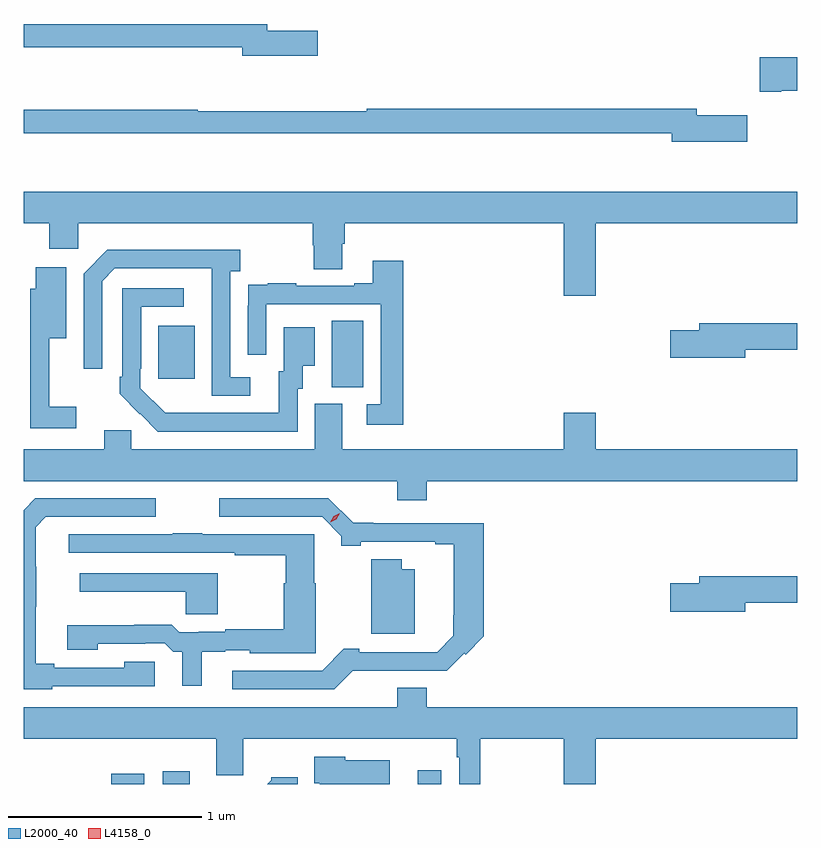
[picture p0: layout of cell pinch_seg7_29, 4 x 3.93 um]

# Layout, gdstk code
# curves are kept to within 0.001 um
import gdstk
lib = gdstk.Library(unit=1e-6, precision=1e-09)
def R(c, l, rs):  # rectangles x0, y0, x1, y1
    for r in rs: c.add(gdstk.rectangle(r[:2], r[2:], *l))
def P(c, l, *ps):  # polygons
    for p in ps: c.add(gdstk.Polygon(p, *l))
L2000_40 = (2000, 40)
L4158_0 = (4158, 0)

pinch_seg7_29 = lib.new_cell('pinch_seg7_29')
R(pinch_seg7_29, L2000_40, [(1061.768,1057.658,1061.938,1057.711), (1062.035,1057.658,1062.175,1057.723), (1063.352,1057.658,1063.474,1057.729), (1062.908,1059.709,1063.072,1060.052), (1062.011,1059.753,1062.199,1060.027)])
P(pinch_seg7_29, L2000_40, [(1062.835,1061.553),(1062.574,1061.553),(1062.574,1061.587),(1061.315,1061.587),(1061.315,1061.466),(1062.446,1061.466),(1062.446,1061.423),(1062.835,1061.423)],
  [(1065.232,1061.242),(1065.315,1061.242),(1065.315,1061.415),(1065.12,1061.415),(1065.12,1061.237),(1065.232,1061.237)],
  [(1065.055,1061.114),(1064.794,1061.114),(1064.794,1061.15),(1063.09,1061.15),(1063.09,1061.135),(1062.215,1061.135),(1062.215,1061.143),(1061.315,1061.143),(1061.315,1061.022),(1064.666,1061.022),(1064.666,1060.979),(1065.055,1060.979)],
  [(1064.272,1060.556),(1065.315,1060.556),(1065.315,1060.72),(1061.315,1060.72),(1061.315,1060.556),(1061.447,1060.556),(1061.447,1060.425),(1061.598,1060.425),(1061.598,1060.556),(1062.809,1060.556),(1062.809,1060.443),(1062.814,1060.443),(1062.814,1060.318),(1062.961,1060.318),(1062.961,1060.45),(1062.974,1060.45),(1062.974,1060.556),(1064.108,1060.556),(1064.108,1060.182),(1064.272,1060.182)],
  [(1062.487,1059.762),(1062.384,1059.762),(1062.384,1060.31),(1062.436,1060.31),(1062.436,1060.42),(1061.748,1060.42),(1061.625,1060.297),(1061.625,1059.804),(1061.721,1059.804),(1061.721,1060.257),(1061.787,1060.323),(1062.287,1060.323),(1062.288,1059.666),(1062.487,1059.666)],
  [(1063.277,1060.363),(1063.121,1060.363),(1063.121,1060.246),(1063.025,1060.246),(1063.025,1060.233),(1062.725,1060.233),(1062.725,1060.246),(1062.577,1060.246),(1062.577,1060.239),(1062.475,1060.239),(1062.475,1060.13),(1062.474,1060.13),(1062.474,1059.876),(1062.57,1059.876),(1062.57,1060.137),(1063.161,1060.137),(1063.161,1059.621),(1063.089,1059.621),(1063.089,1059.516),(1063.277,1059.516)],
  [(1061.587,1059.607),(1061.447,1059.607),(1061.447,1059.962),(1061.536,1059.962),(1061.536,1060.33),(1061.378,1060.33),(1061.378,1060.219),(1061.349,1060.219),(1061.349,1059.498),(1061.587,1059.498)],
  [(1062.732,1059.702),(1062.757,1059.702),(1062.757,1059.821),(1062.82,1059.821),(1062.82,1060.018),(1062.659,1060.018),(1062.659,1059.792),(1062.635,1059.792),(1062.635,1059.576),(1062.048,1059.577),(1061.919,1059.705),(1061.919,1059.805),(1061.922,1059.805),(1061.922,1060.125),(1062.142,1060.125),(1062.142,1060.221),(1061.826,1060.221),(1061.826,1059.763),(1061.811,1059.763),(1061.811,1059.675),(1062.008,1059.48),(1062.732,1059.48)],
  [(1065.046,1059.904),(1065.315,1059.904),(1065.315,1060.04),(1064.807,1060.04),(1064.807,1060.004),(1064.658,1060.004),(1064.658,1059.862),(1065.046,1059.862)],
  [(1063.4,1059.224),(1065.315,1059.224),(1065.315,1059.388),(1064.272,1059.388),(1064.272,1059.577),(1064.108,1059.577),(1064.108,1059.388),(1062.961,1059.388),(1062.961,1059.624),(1062.821,1059.624),(1062.821,1059.388),(1061.871,1059.388),(1061.871,1059.486),(1061.732,1059.486),(1061.732,1059.388),(1061.315,1059.388),(1061.315,1059.224),(1063.247,1059.224),(1063.247,1059.125),(1063.4,1059.125)],
  [(1063.016,1058.243),(1063.503,1058.244),(1063.593,1058.335),(1063.6,1058.327),(1063.694,1058.421),(1063.694,1059.006),(1063.123,1059.006),(1063.123,1059.008),(1063.019,1059.008),(1062.891,1059.135),(1062.327,1059.135),(1062.327,1059.039),(1062.858,1059.039),(1062.957,1058.94),(1062.957,1058.89),(1063.057,1058.89),(1063.057,1058.91),(1063.442,1058.91),(1063.442,1058.898),(1063.538,1058.898),(1063.538,1058.53),(1063.536,1058.53),(1063.536,1058.424),(1063.452,1058.34),(1063.051,1058.34),(1063.051,1058.356),(1062.97,1058.356),(1062.858,1058.244),(1062.393,1058.244),(1062.393,1058.148),(1062.921,1058.148)],
  [(1061.463,1058.163),(1061.992,1058.163),(1061.992,1058.29),(1061.836,1058.29),(1061.836,1058.259),(1061.473,1058.259),(1061.473,1058.279),(1061.377,1058.279),(1061.377,1058.575),(1061.379,1058.575),(1061.379,1058.782),(1061.377,1058.782),(1061.377,1058.986),(1061.43,1059.039),(1061.998,1059.039),(1061.998,1059.135),(1061.376,1059.135),(1061.315,1059.074),(1061.315,1058.148),(1061.463,1058.148)],
  [(1062.235,1058.342),(1062.357,1058.342),(1062.357,1058.349),(1062.483,1058.349),(1062.483,1058.333),(1062.824,1058.333),(1062.824,1058.437),(1062.826,1058.437),(1062.826,1058.697),(1062.817,1058.697),(1062.817,1058.949),(1062.239,1058.949),(1062.239,1058.954),(1062.085,1058.954),(1062.085,1058.949),(1061.547,1058.949),(1061.547,1058.853),(1062.406,1058.853),(1062.406,1058.841),(1062.67,1058.841),(1062.67,1058.697),(1062.661,1058.697),(1062.661,1058.458),(1062.357,1058.458),(1062.357,1058.445),(1062.22,1058.445),(1062.22,1058.442),(1062.12,1058.442),(1062.081,1058.482),(1061.887,1058.482),(1061.887,1058.479),(1061.541,1058.479),(1061.541,1058.351),(1061.697,1058.351),(1061.697,1058.382),(1061.945,1058.382),(1061.945,1058.385),(1062.045,1058.385),(1062.089,1058.342),(1062.134,1058.342),(1062.134,1058.166),(1062.235,1058.166)],
  [(1063.336,1058.767),(1063.27,1058.767),(1063.27,1058.821),(1063.112,1058.821),(1063.112,1058.435),(1063.336,1058.435)],
  [(1062.318,1058.748),(1061.604,1058.748),(1061.604,1058.651),(1062.152,1058.651),(1062.152,1058.535),(1062.318,1058.535)],
  [(1065.046,1058.596),(1065.315,1058.596),(1065.315,1058.732),(1064.807,1058.732),(1064.807,1058.696),(1064.658,1058.696),(1064.658,1058.549),(1065.046,1058.549)],
  [(1063.4,1058.155),(1063.247,1058.155),(1063.247,1058.056),(1061.315,1058.056),(1061.315,1057.892),(1062.311,1057.892),(1062.311,1057.702),(1062.451,1057.702),(1062.451,1057.892),(1063.554,1057.892),(1063.554,1057.796),(1063.566,1057.796),(1063.566,1057.658),(1063.675,1057.658),(1063.675,1057.892),(1064.108,1057.892),(1064.108,1057.658),(1064.272,1057.658),(1064.272,1057.892),(1065.315,1057.892),(1065.315,1058.056),(1063.4,1058.056)],
  [(1063.207,1057.78),(1062.978,1057.78),(1062.978,1057.798),(1062.818,1057.798),(1062.818,1057.662),(1062.846,1057.662),(1062.846,1057.658),(1063.207,1057.658)],
  [(1062.733,1057.693),(1062.594,1057.693),(1062.594,1057.678),(1062.574,1057.658),(1062.733,1057.658)])
P(pinch_seg7_29, L4158_0, [(1062.901,1059.012),(1062.901,1059.012),(1062.918,1059.042),(1062.949,1059.057),(1062.949,1059.057),(1062.949,1059.057),(1062.932,1059.027),(1062.901,1059.012)])

lib.write_gds('pinch_seg7_29.gds')
